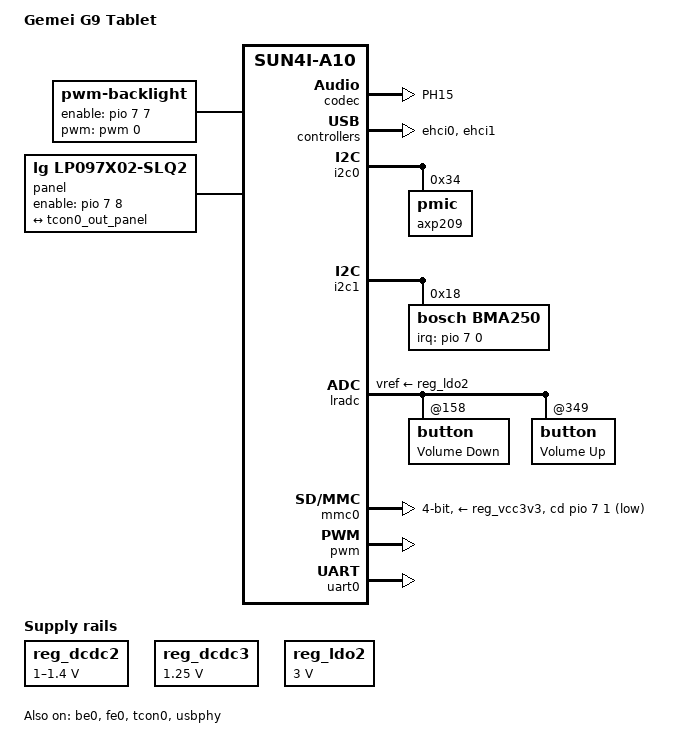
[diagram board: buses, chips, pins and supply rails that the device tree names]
/*
 * Copyright 2015, 2016 Priit Laes
 *
 * Priit Laes <plaes@plaes.org>
 *
 * This file is dual-licensed: you can use it either under the terms
 * of the GPL or the X11 license, at your option. Note that this dual
 * licensing only applies to this file, and not this project as a
 * whole.
 *
 *  a) This file is free software; you can redistribute it and/or
 *     modify it under the terms of the GNU General Public License as
 *     published by the Free Software Foundation; either version 2 of the
 *     License, or (at your option) any later version.
 *
 *     This file is distributed in the hope that it will be useful,
 *     but WITHOUT ANY WARRANTY; without even the implied warranty of
 *     MERCHANTABILITY or FITNESS FOR A PARTICULAR PURPOSE.  See the
 *     GNU General Public License for more details.
 *
 * Or, alternatively,
 *
 *  b) Permission is hereby granted, free of charge, to any person
 *     obtaining a copy of this software and associated documentation
 *     files (the "Software"), to deal in the Software without
 *     restriction, including without limitation the rights to use,
 *     copy, modify, merge, publish, distribute, sublicense, and/or
 *     sell copies of the Software, and to permit persons to whom the
 *     Software is furnished to do so, subject to the following
 *     conditions:
 *
 *     The above copyright notice and this permission notice shall be
 *     included in all copies or substantial portions of the Software.
 *
 *     THE SOFTWARE IS PROVIDED "AS IS", WITHOUT WARRANTY OF ANY KIND,
 *     EXPRESS OR IMPLIED, INCLUDING BUT NOT LIMITED TO THE WARRANTIES
 *     OF MERCHANTABILITY, FITNESS FOR A PARTICULAR PURPOSE AND
 *     NONINFRINGEMENT. IN NO EVENT SHALL THE AUTHORS OR COPYRIGHT
 *     HOLDERS BE LIABLE FOR ANY CLAIM, DAMAGES OR OTHER LIABILITY,
 *     WHETHER IN AN ACTION OF CONTRACT, TORT OR OTHERWISE, ARISING
 *     FROM, OUT OF OR IN CONNECTION WITH THE SOFTWARE OR THE USE OR
 *     OTHER DEALINGS IN THE SOFTWARE.
 */

/dts-v1/;
#include "sun4i-a10.dtsi"
#include "sunxi-common-regulators.dtsi"
#include <dt-bindings/gpio/gpio.h>
#include <dt-bindings/input/input.h>
#include <dt-bindings/interrupt-controller/irq.h>
#include <dt-bindings/pwm/pwm.h>

/ {
	model = "Gemei G9 Tablet";
	compatible = "gemei,g9", "allwinner,sun4i-a10";

	/*
	 * TODO:
	 *   2x cameras via CSI
	 *   AXP battery management
	 *   NAND
	 *   OTG
	 *   Touchscreen - gt801_2plus1 @ i2c adapter 2 @ 0x48
	 *   HDMI output
	 */

	aliases {
		serial0 = &uart0;
	};

	backlight: backlight {
		compatible = "pwm-backlight";
		pinctrl-names = "default";
		pinctrl-0 = <&lcd_backlight_pin>;
		/* TODO: Figure out proper parameters */
		pwms = <&pwm 0 50000 PWM_POLARITY_INVERTED>;
		brightness-levels = <0 10 20 30 40 50 60 70 80 90 100>;
		enable-gpios = <&pio 7 7 GPIO_ACTIVE_HIGH>; /* PH7 */
		default-brightness-level = <8>;
	};

	chosen {
		stdout-path = "serial0:115200n8";
	};

	panel: panel {
		compatible = "lg,lp097x02-slq2";
		pinctrl-names = "default";
		pinctrl-0 = <&lcd_enable_pin &lcd_lvds0_pins>;
		enable-gpios = <&pio 7 8 GPIO_ACTIVE_HIGH>; /* PH8 */
		#address-cells = <1>;
		#size-cells = <0>;

		port {
			#address-cells = <1>;
			#size-cells = <0>;

			panel_input: endpoint {
				remote-endpoint = <&tcon0_out_panel>;
			};
		};
	};

	display-engine {
		compatible = "allwinner,sun5i-a13-display-engine";
		allwinner,pipelines = <&fe0>;
	};
};

&be0 {
	status = "okay";
};

&codec {
	/* PH15 controls power to external amplifier (ft2012q) */
	pinctrl-names = "default";
	pinctrl-0 = <&codec_pa_pin>;
	allwinner,pa-gpios = <&pio 7 15 GPIO_ACTIVE_HIGH>;
	status = "okay";
};

&cpu0 {
	cpu-supply = <&reg_dcdc2>;
};

&ehci0 {
	status = "okay";
};

&ehci1 {
	status = "okay";
};

&fe0 {
	status = "okay";
};

&i2c0 {
	pinctrl-names = "default";
	pinctrl-0 = <&i2c0_pins_a>;
	status = "okay";

	axp209: pmic@34 {
		reg = <0x34>;
		interrupts = <0>;
	};
};

#include "axp209.dtsi"

&i2c1 {
	pinctrl-names = "default";
	pinctrl-0 = <&i2c1_pins_a>;
	status = "okay";

	/* Accelerometer */
	bma250@18 {
		compatible = "bosch,bma250";
		reg = <0x18>;
		interrupt-parent = <&pio>;
		interrupts = <7 0 IRQ_TYPE_EDGE_RISING>; /* PH00 / EINT0 */
	};
};

&lradc {
	vref-supply = <&reg_ldo2>;

	status = "okay";

	button@158 {
		label = "Volume Down";
		linux,code = <KEY_VOLUMEDOWN>;
		channel = <0>;
		voltage = <158730>;
	};

	button@349 {
		label = "Volume Up";
		linux,code = <KEY_VOLUMEUP>;
		channel = <0>;
		voltage = <349206>;
	};

	button@1142 {
		label = "Esc";
		linux,code = <KEY_ESC>;
		channel = <0>;
		voltage = <1142856>;
	};
};

&mmc0 {
	pinctrl-names = "default";
	pinctrl-0 = <&mmc0_pins_a>, <&mmc0_cd_pin_reference_design>;
	vmmc-supply = <&reg_vcc3v3>;
	bus-width = <4>;
	cd-gpios = <&pio 7 1 GPIO_ACTIVE_HIGH>; /* PH01 */
	cd-inverted;
	status = "okay";
};

&pio {
	codec_pa_pin: codec_pa_pin@0 {
		pins = "PH15";
		function = "gpio_out";
	};

	lcd_backlight_pin: lcd_backlight_pin@0 {
		allwinner,pins = "PH7";
		allwinner,function = "gpio_out";
		allwinner,drive = <SUN4I_PINCTRL_10_MA>;
		allwinner,pull = <SUN4I_PINCTRL_NO_PULL>;
	};

	lcd_enable_pin: lcd_enable_pin@0 {
		allwinner,pins = "PH8";
		allwinner,function = "gpio_out";
		allwinner,drive = <SUN4I_PINCTRL_10_MA>;
		allwinner,pull = <SUN4I_PINCTRL_NO_PULL>;
	};

	lcd_lvds0_pins: lcd_lvds0_pins@0 {
		allwinner,pins =  "PD0", "PD1", "PD2", "PD3", "PD4",
				  "PD5", "PD6", "PD7", "PD8", "PD9";
		allwinner,function = "lvds0";
		allwinner,drive = <SUN4I_PINCTRL_10_MA>;
		allwinner,pull = <SUN4I_PINCTRL_NO_PULL>;
	};
};

&pwm {
        pinctrl-names = "default";
        pinctrl-0 = <&pwm0_pins_a>;
        status = "okay";
};

&reg_dcdc2 {
	regulator-always-on;
	regulator-min-microvolt = <1000000>;
	regulator-max-microvolt = <1400000>;
	regulator-name = "vdd-cpu";
};

&reg_dcdc3 {
	regulator-always-on;
	regulator-min-microvolt = <1250000>;
	regulator-max-microvolt = <1250000>;
	regulator-name = "vdd-int-dll";
};

&reg_ldo1 {
	regulator-name = "vdd-rtc";
};

&reg_ldo2 {
	regulator-always-on;
	regulator-min-microvolt = <3000000>;
	regulator-max-microvolt = <3000000>;
	regulator-name = "avcc";
};

&reg_usb1_vbus {
	status = "okay";
};

&reg_usb2_vbus {
	status = "okay";
};

&tcon0 {
	mode = "lvds";
	status = "okay";
};

&tcon0_out {
	tcon0_out_panel: endpoint@1 {
		reg = <0>;
		remote-endpoint = <&panel_input>;
	};
};

&uart0  {
	pinctrl-names = "default";
	pinctrl-0 = <&uart0_pins_a>;
	status = "okay";
};

&usbphy {
	usb1_vbus-supply = <&reg_usb1_vbus>;
	usb2_vbus-supply = <&reg_usb2_vbus>;
	status = "okay";
};
